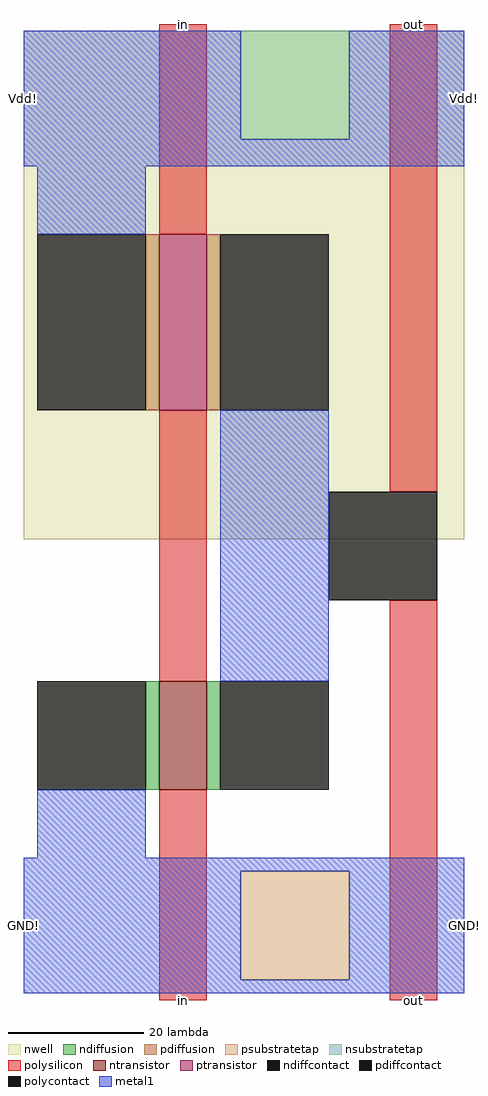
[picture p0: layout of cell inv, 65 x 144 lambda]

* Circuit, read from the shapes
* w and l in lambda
.subckt inv GND! Vdd! in out
M1 out in GND! VSUBS nfet w=16 l=7
M2 out in Vdd! n1 pfet w=26 l=7
.ends

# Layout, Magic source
magic
tech c035u
<< nwell >>
rect 0 68 65 143
<< polysilicon >>
rect 20 113 27 144
rect 20 47 27 87
rect 54 75 61 144
rect 20 0 27 31
rect 54 0 61 59
<< ndiffusion >>
rect 18 31 20 47
rect 27 31 29 47
<< pdiffusion >>
rect 18 87 20 113
rect 27 87 29 113
<< ntransistor >>
rect 20 31 27 47
<< ptransistor >>
rect 20 87 27 113
<< polycontact >>
rect 45 59 61 75
<< ndiffcontact >>
rect 2 31 18 47
rect 29 31 45 47
<< pdiffcontact >>
rect 2 87 18 113
rect 29 87 45 113
<< psubstratetap >>
rect 32 3 48 19
<< nsubstratetap >>
rect 32 127 48 143
<< metal1 >>
rect 0 127 32 143
rect 48 127 65 143
rect 0 123 65 127
rect 2 113 18 123
rect 29 47 45 87
rect 2 21 18 31
rect 0 19 65 21
rect 0 3 32 19
rect 48 3 65 19
rect 0 1 65 3
<< labels >>
rlabel metal1 0 123 0 143 3 Vdd!
rlabel metal1 0 1 0 21 3 GND!
rlabel metal1 65 123 65 143 7 Vdd!
rlabel metal1 65 1 65 21 7 GND!
rlabel polysilicon 20 144 27 144 5 in
rlabel polysilicon 54 144 61 144 5 out
rlabel polysilicon 20 0 27 0 1 in
rlabel polysilicon 54 0 61 0 1 out
<< end >>
